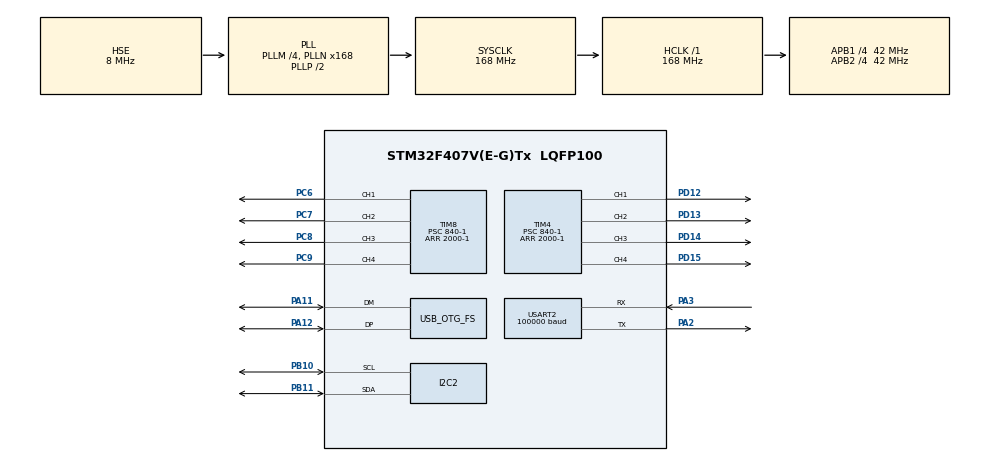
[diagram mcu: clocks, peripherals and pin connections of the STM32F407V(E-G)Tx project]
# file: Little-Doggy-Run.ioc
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I2C2.I2C_Mode=I2C_Fast
Mcu.Family=STM32F4
Mcu.Name=STM32F407V(E-G)Tx
Mcu.Package=LQFP100
NVIC.OTG_FS_IRQn=true\:0\:0\:false\:false\:true\:false
NVIC.PriorityGroup=NVIC_PRIORITYGROUP_4
NVIC.TIM6_DAC_IRQn=true\:1\:0\:true\:false\:true\:true
NVIC.USART2_IRQn=true\:0\:0\:false\:false\:true\:true
PA11.Mode=Device_Only
PA11.Signal=USB_OTG_FS_DM
PA12.Mode=Device_Only
PA12.Signal=USB_OTG_FS_DP
PA13.Mode=Serial_Wire
PA13.Signal=SYS_JTMS-SWDIO
PA14.Mode=Serial_Wire
PA14.Signal=SYS_JTCK-SWCLK
PA2.Mode=Multiprocessor_communication
PA2.Signal=USART2_TX
PA3.Mode=Multiprocessor_communication
PA3.Signal=USART2_RX
PB10.Mode=I2C
PB10.Signal=I2C2_SCL
PB11.Mode=I2C
PB11.Signal=I2C2_SDA
PC6.Signal=S_TIM8_CH1
PC7.Signal=S_TIM8_CH2
PC8.Signal=S_TIM8_CH3
PC9.Signal=S_TIM8_CH4
PD12.Signal=S_TIM4_CH1
PD13.Signal=S_TIM4_CH2
PD14.Signal=S_TIM4_CH3
PD15.Signal=S_TIM4_CH4
PH0-OSC_IN.Mode=HSE-External-Oscillator
PH0-OSC_IN.Signal=RCC_OSC_IN
PH1-OSC_OUT.Mode=HSE-External-Oscillator
PH1-OSC_OUT.Signal=RCC_OSC_OUT
ProjectManager.HeapSize=0x400
ProjectManager.StackSize=0x800
ProjectManager.TargetToolchain=MDK-ARM V5
RCC.48MHZClocksFreq_Value=48000000
RCC.AHBFreq_Value=168000000
RCC.APB1CLKDivider=RCC_HCLK_DIV4
RCC.APB1Freq_Value=42000000
RCC.APB1TimFreq_Value=84000000
RCC.APB2CLKDivider=RCC_HCLK_DIV4
RCC.APB2Freq_Value=42000000
RCC.APB2TimFreq_Value=84000000
RCC.CortexFreq_Value=168000000
RCC.HCLKFreq_Value=168000000
RCC.HSE_VALUE=8000000
RCC.HSI_VALUE=16000000
RCC.LSE_VALUE=32768
RCC.PLLM=4
RCC.PLLN=168
RCC.PLLQ=7
RCC.SYSCLKFreq_VALUE=168000000
RCC.SYSCLKSource=RCC_SYSCLKSOURCE_PLLCLK
RCC.VCOOutputFreq_Value=336000000
SH.S_TIM4_CH1.0=TIM4_CH1,PWM Generation1 CH1
SH.S_TIM4_CH2.0=TIM4_CH2,PWM Generation2 CH2
SH.S_TIM4_CH3.0=TIM4_CH3,PWM Generation3 CH3
SH.S_TIM4_CH4.0=TIM4_CH4,PWM Generation4 CH4
SH.S_TIM8_CH1.0=TIM8_CH1,PWM Generation1 CH1
SH.S_TIM8_CH2.0=TIM8_CH2,PWM Generation2 CH2
SH.S_TIM8_CH3.0=TIM8_CH3,PWM Generation3 CH3
SH.S_TIM8_CH4.0=TIM8_CH4,PWM Generation4 CH4
TIM4.Channel-PWM\ Generation1\ CH1=TIM_CHANNEL_1
TIM4.Channel-PWM\ Generation2\ CH2=TIM_CHANNEL_2
TIM4.Channel-PWM\ Generation3\ CH3=TIM_CHANNEL_3
TIM4.Channel-PWM\ Generation4\ CH4=TIM_CHANNEL_4
TIM4.Period=2000-1
TIM4.Prescaler=840-1
TIM6.Period=1000
TIM6.Prescaler=540-1
TIM8.Channel-PWM\ Generation1\ CH1=TIM_CHANNEL_1
TIM8.Channel-PWM\ Generation2\ CH2=TIM_CHANNEL_2
TIM8.Channel-PWM\ Generation3\ CH3=TIM_CHANNEL_3
TIM8.Channel-PWM\ Generation4\ CH4=TIM_CHANNEL_4
TIM8.Period=2000-1
TIM8.Prescaler=840-1
USART2.BaudRate=100000
USART2.Parity=PARITY_EVEN
USART2.VirtualMode=VM_ASYNC
USART2.WordLength=WORDLENGTH_9B
USB_DEVICE.CLASS_NAME_FS=CDC
USB_DEVICE.VirtualMode-CDC_FS=Cdc
USB_DEVICE.VirtualModeFS=Cdc_FS
USB_OTG_FS.VirtualMode=Device_Only
VP_TIM6_VS_ClockSourceINT.Mode=Enable_Timer
VP_USB_DEVICE_VS_USB_DEVICE_CDC_FS.Mode=CDC_FS
board=custom

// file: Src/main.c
/**
  ******************************************************************************
  * @file           : main.c
  * @brief          : Main program body
  ******************************************************************************
  * This notice applies to any and all portions of this file
  * that are not between comment pairs USER CODE BEGIN and
  * USER CODE END. Other portions of this file, whether
  * inserted by the user or by software development tools
  * are owned by their respective copyright owners.
  *
  * Copyright (c) 2019 STMicroelectronics International N.V.
  * All rights reserved.
  *
  * Redistribution and use in source and binary forms, with or without
  * modification, are permitted, provided that the following conditions are met:
  *
  * 1. Redistribution of source code must retain the above copyright notice,
  *    this list of conditions and the following disclaimer.
  * 2. Redistributions in binary form must reproduce the above copyright notice,
  *    this list of conditions and the following disclaimer in the documentation
  *    and/or other materials provided with the distribution.
  * 3. Neither the name of STMicroelectronics nor the names of other
  *    contributors to this software may be used to endorse or promote products
  *    derived from this software without specific written permission.
  * 4. This software, including modifications and/or derivative works of this
  *    software, must execute solely and exclusively on microcontroller or
  *    microprocessor devices manufactured by or for STMicroelectronics.
  * 5. Redistribution and use of this software other than as permitted under
  *    this license is void and will automatically terminate your rights under
  *    this license.
  *
  * THIS SOFTWARE IS PROVIDED BY STMICROELECTRONICS AND CONTRIBUTORS "AS IS"
  * AND ANY EXPRESS, IMPLIED OR STATUTORY WARRANTIES, INCLUDING, BUT NOT
  * LIMITED TO, THE IMPLIED WARRANTIES OF MERCHANTABILITY, FITNESS FOR A
  * PARTICULAR PURPOSE AND NON-INFRINGEMENT OF THIRD PARTY INTELLECTUAL PROPERTY
  * RIGHTS ARE DISCLAIMED TO THE FULLEST EXTENT PERMITTED BY LAW. IN NO EVENT
  * SHALL STMICROELECTRONICS OR CONTRIBUTORS BE LIABLE FOR ANY DIRECT, INDIRECT,
  * INCIDENTAL, SPECIAL, EXEMPLARY, OR CONSEQUENTIAL DAMAGES (INCLUDING, BUT NOT
  * LIMITED TO, PROCUREMENT OF SUBSTITUTE GOODS OR SERVICES; LOSS OF USE, DATA,
  * OR PROFITS; OR BUSINESS INTERRUPTION) HOWEVER CAUSED AND ON ANY THEORY OF
  * LIABILITY, WHETHER IN CONTRACT, STRICT LIABILITY, OR TORT (INCLUDING
  * NEGLIGENCE OR OTHERWISE) ARISING IN ANY WAY OUT OF THE USE OF THIS SOFTWARE,
  * EVEN IF ADVISED OF THE POSSIBILITY OF SUCH DAMAGE.
  *
  ******************************************************************************
  */
#include "main.h"
#include "stm32f4xx_hal.h"
#include "i2c.h"
#include "tim.h"
#include "usart.h"
#include "usb_device.h"
#include "gpio.h"

/* USER CODE BEGIN Includes */
#include "math.h"
#include "usbd_cdc_if.h"
#include "RemoteTask.h"
#include "leg.h"
#include "mpu_module.h"

/* USER CODE END Includes */

/* USER CODE BEGIN PV */
/* Private variables ---------------------------------------------------------*/

/* USER CODE END PV */

void SystemClock_Config(void);

/* USER CODE BEGIN PFP */
/* Private function prototypes -----------------------------------------------*/

/* USER CODE END PFP */

/* USER CODE BEGIN 0 */

double trot_period = 0.45;
double rotate_spd = 0, forward_spd = 0;
/* USER CODE END 0 */

int main(void)
{
  /* USER CODE BEGIN 1 */

	long data_buf[10];				//从MPL库中读取欧拉数据用的存储区
	unsigned long timestamp;	//保存实时时间，传进MPL库中，单位是ms
	double pitch, roll, yaw;	//输出的欧拉角数据
  /* USER CODE END 1 */

  /* MCU Configuration----------------------------------------------------------*/

  /* Reset of all peripherals, Initializes the Flash interface and the Systick. */
  HAL_Init();

  /* Configure the system clock */
  SystemClock_Config();

  /* Initialize all configured peripherals */
  MX_GPIO_Init();
  MX_TIM4_Init();
  MX_TIM8_Init();
  MX_USART2_UART_Init();
  MX_USB_DEVICE_Init();
  MX_TIM6_Init();
  MX_I2C2_Init();
  /* USER CODE BEGIN 2 */

	RC_CtrlData.rc.RightY = 0x400;
	RC_CtrlData.rc.RightX = 0x400;

	HAL_UART_Receive_IT(&huart2, &rc_rxdata, 3);

	HAL_TIM_Base_Start_IT(&htim6);
  HAL_Delay(2000);
	Leg_Init();
	module_mpu_init();

  /* USER CODE END 2 */

  /* Infinite loop */
  /* USER CODE BEGIN WHILE */
  while (1)
  {
		timestamp = HAL_GetTick();  //读取当前时间
		mpu_module_sampling();          //MPL采样数据
		if (mpu_read_euler(data_buf, &timestamp))       //读取MPL输出的欧拉角数据
		{
		}
				pitch = 1.0f*data_buf[0]/65536.f;                   //将long类型的MPL输出数据转换成角度单位
				roll  = 1.0f*data_buf[1]/65536.f;
				yaw     = 1.0f*data_buf[2]/65536.f;
				usbprint("pitch:%lf\t\troll:%lf\t\tyaw:%lf\t\tt:%ld\t\t\r\n", pitch, roll, yaw, timestamp);//???????????????????

  /* USER CODE END WHILE */

  }

}

void SystemClock_Config(void)
{

  RCC_OscInitTypeDef RCC_OscInitStruct;
  RCC_ClkInitTypeDef RCC_ClkInitStruct;

    /**Configure the main internal regulator output voltage
    */
  __HAL_RCC_PWR_CLK_ENABLE();

  __HAL_PWR_VOLTAGESCALING_CONFIG(PWR_REGULATOR_VOLTAGE_SCALE1);

    /**Initializes the CPU, AHB and APB busses clocks
    */
  RCC_OscInitStruct.OscillatorType = RCC_OSCILLATORTYPE_HSE;
  RCC_OscInitStruct.HSEState = RCC_HSE_ON;
  RCC_OscInitStruct.PLL.PLLState = RCC_PLL_ON;
  RCC_OscInitStruct.PLL.PLLSource = RCC_PLLSOURCE_HSE;
  RCC_OscInitStruct.PLL.PLLM = 4;
  RCC_OscInitStruct.PLL.PLLN = 168;
  RCC_OscInitStruct.PLL.PLLP = RCC_PLLP_DIV2;
  RCC_OscInitStruct.PLL.PLLQ = 7;
  if (HAL_RCC_OscConfig(&RCC_OscInitStruct) != HAL_OK)
  {
    _Error_Handler(__FILE__, __LINE__);
  }

    /**Initializes the CPU, AHB and APB busses clocks
    */
  RCC_ClkInitStruct.ClockType = RCC_CLOCKTYPE_HCLK|RCC_CLOCKTYPE_SYSCLK
                              |RCC_CLOCKTYPE_PCLK1|RCC_CLOCKTYPE_PCLK2;
  RCC_ClkInitStruct.SYSCLKSource = RCC_SYSCLKSOURCE_PLLCLK;
  RCC_ClkInitStruct.AHBCLKDivider = RCC_SYSCLK_DIV1;
  RCC_ClkInitStruct.APB1CLKDivider = RCC_HCLK_DIV4;
  RCC_ClkInitStruct.APB2CLKDivider = RCC_HCLK_DIV4;

  if (HAL_RCC_ClockConfig(&RCC_ClkInitStruct, FLASH_LATENCY_5) != HAL_OK)
  {
    _Error_Handler(__FILE__, __LINE__);
  }

    /**Configure the Systick interrupt time
    */
  HAL_SYSTICK_Config(HAL_RCC_GetHCLKFreq()/1000);

    /**Configure the Systick
    */
  HAL_SYSTICK_CLKSourceConfig(SYSTICK_CLKSOURCE_HCLK);

  /* SysTick_IRQn interrupt configuration */
  HAL_NVIC_SetPriority(SysTick_IRQn, 0, 0);
}

/* USER CODE BEGIN 4 */

void mdelay(unsigned long num_ms)
{
    HAL_Delay(num_ms);
}

void get_tick_count(unsigned long *count)
{
    *count = HAL_GetTick();
}

/* USER CODE END 4 */

void _Error_Handler(char *file, int line)
{
  while(1)
  {
  }
}

/************************ (C) COPYRIGHT STMicroelectronics *****END OF FILE****/
